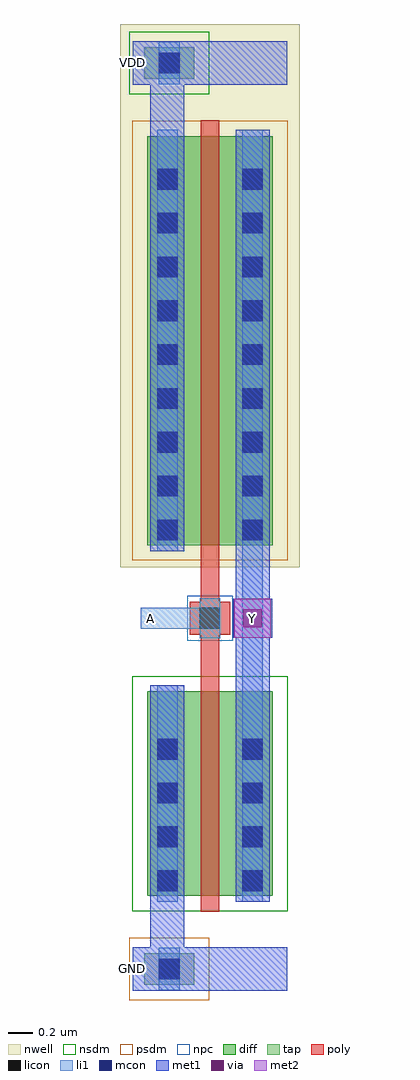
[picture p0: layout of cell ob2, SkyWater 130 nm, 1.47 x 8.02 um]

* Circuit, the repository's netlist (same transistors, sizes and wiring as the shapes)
* NGSPICE file created from ob2.ext - technology: sky130A

.subckt ob2 A Y VDD GND
X0 Y A GND GND sky130_fd_pr__nfet_01v8 ad=0.7392 pd=4.24 as=0.7392 ps=4.24 w=1.68 l=0.15
X1 Y A VDD VDD sky130_fd_pr__pfet_01v8 ad=1.4784 pd=7.6 as=1.4784 ps=7.6 w=3.36 l=0.15
.ends

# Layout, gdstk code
import gdstk
lib = gdstk.Library(unit=1e-6, precision=1e-09)
def R(c, l, rs):  # rectangles x0, y0, x1, y1
    for r in rs: c.add(gdstk.rectangle(r[:2], r[2:], *l))
def A(c, l, x, y, w, h, nx, ny, dx, dy):  # array of equal rectangles
    R(c, l, [(x+i*dx, y+j*dy, x+i*dx+w, y+j*dy+h) for i in range(nx) for j in range(ny)])
nwell = (64, 20)
diff = (65, 20)
tap = (65, 44)
poly = (66, 20)
licon = (66, 44)
li1 = (67, 20)
mcon = (67, 44)
met1 = (68, 20)
via = (68, 44)
met2 = (69, 20)
nsdm = (93, 44)
psdm = (94, 20)
npc = (95, 20)

ob2 = lib.new_cell('ob2')
R(ob2, nwell, [(0,3.3,1.47,7.76)])
R(ob2, diff, [(0.22,0.6,1.25,2.28), (0.22,3.48,1.25,6.84)])
R(ob2, tap, [(0.195,-0.13,0.605,0.13), (0.195,7.31,0.605,7.57)])
R(ob2, poly, [(0.66,0.47,0.81,2.745), (0.57,2.745,0.9,3.015), (0.66,3.015,0.81,6.97)])
A(ob2, licon, 0.3, 0.64, 0.17, 0.17, 1, 4, 0, 0.36)
A(ob2, licon, 1, 0.64, 0.17, 0.17, 1, 4, 0, 0.36)
A(ob2, licon, 0.3, 3.52, 0.17, 0.17, 1, 9, 0, 0.36)
A(ob2, licon, 1, 3.52, 0.17, 0.17, 1, 9, 0, 0.36)
R(ob2, licon, [(0.315,-0.085,0.485,0.085), (0.65,2.795,0.82,2.965), (0.315,7.355,0.485,7.525)])
R(ob2, li1, [(0.315,-0.175,0.485,0.175), (0.3,0.55,0.47,2.33), (1,0.55,1.17,6.89), (0.65,2.715,0.82,2.795), (0.165,2.795,0.82,2.965), (0.65,2.965,0.82,3.045), (0.3,3.43,0.47,6.89), (0.315,7.265,0.485,7.615)])
A(ob2, mcon, 0.3, 0.64, 0.17, 0.17, 1, 4, 0, 0.36)
A(ob2, mcon, 1, 0.64, 0.17, 0.17, 1, 4, 0, 0.36)
A(ob2, mcon, 0.3, 3.52, 0.17, 0.17, 1, 9, 0, 0.36)
A(ob2, mcon, 1, 3.52, 0.17, 0.17, 1, 9, 0, 0.36)
R(ob2, mcon, [(0.315,-0.085,0.485,0.085), (0.315,7.355,0.485,7.525)])
R(ob2, met1, [(0.1,-0.18,1.37,0.18), (0.245,0.18,0.525,2.33), (0.945,0.55,1.225,2.72), (0.925,2.72,1.245,3.04), (0.945,3.04,1.225,6.89), (0.245,3.43,0.525,7.26), (0.1,7.26,1.37,7.62)])
R(ob2, via, [(1.01,2.805,1.16,2.955)])
R(ob2, met2, [(0.935,2.72,1.235,3.04)])
R(ob2, nsdm, [(0.095,0.475,1.375,2.405), (0.07,7.185,0.73,7.695)])
R(ob2, psdm, [(0.07,-0.255,0.73,0.255), (0.095,3.355,1.375,6.965)])
R(ob2, npc, [(0.55,2.695,0.92,3.065)])
ob2.add(gdstk.Label('A', (0.25,2.88), layer=67, texttype=5))
ob2.add(gdstk.Label('Y', (1.085,2.88), layer=69, texttype=5))
ob2.add(gdstk.Label('VDD', (0.1,7.44), layer=68, texttype=5))
ob2.add(gdstk.Label('GND', (0.1,0), layer=68, texttype=5))

lib.write_gds('ob2.gds')
